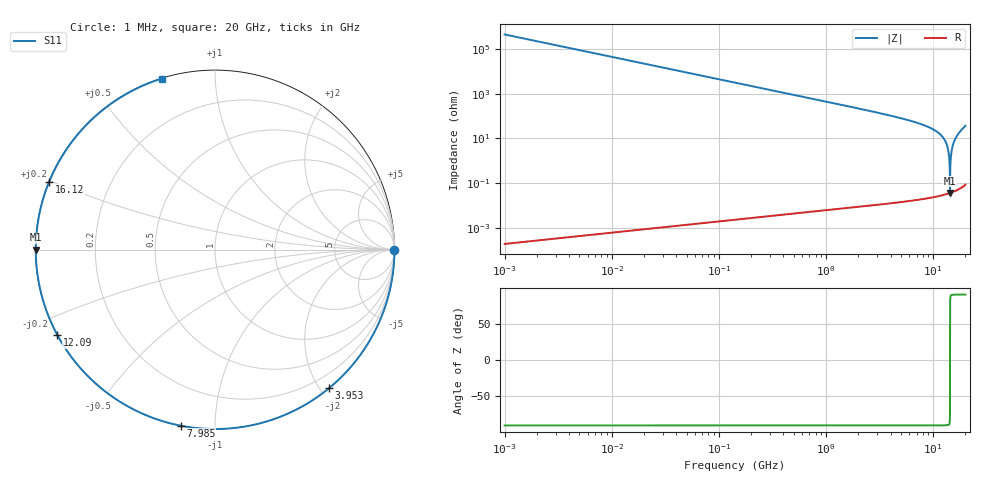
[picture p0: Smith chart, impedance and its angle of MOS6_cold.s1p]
# GHz S RI R 50
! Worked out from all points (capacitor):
!   10001 points, 1 MHz to 20 GHz, reference 50 ohm
!   read as one part to ground: C = 357 fF near 101 MHz
!   lowest |Z| = 36.3 mohm at 14.37 GHz (marker M1)
!   series resonance near 14.37 GHz, so ESL is about 340 pH
!   S11 on the Smith chart (normalised r, x): 1 MHz: open; 3.953 GHz: 0.00, -2.12; 7.985 GHz: 0.00, -0.82; 12.09 GHz: 0.00, -0.25; 16.12 GHz: 0.00, +0.20; 20 GHz: 0.00, +0.74
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0.001  1 -0.000224
0.615  0.9905 -0.1374
1.233  0.9621 -0.2727
1.859  0.9146 -0.4043
2.501  0.8475 -0.5307
3.207  0.754 -0.6568
3.953  0.6355 -0.772
5.001  0.4417 -0.897
5.633  0.3134 -0.9494
6.257  0.1814 -0.9831
6.879  0.047 -0.9986
7.501  -0.0878 -0.9957
7.985  -0.1914 -0.981
8.977  -0.3953 -0.9179
10.001  -0.5862 -0.8093
11.077  -0.7559 -0.6533
12.085  -0.8786 -0.4753
12.501  -0.9176 -0.3946
13.445  -0.9784 -0.2002
14.371  -0.9985 -5.05e-05
15.001  -0.9889 0.1375
16.125  -0.9245 0.3766
16.805  -0.8567 0.5122
17.501  -0.7661 0.6397
18.177  -0.6592 0.7493
18.817  -0.5427 0.8375
19.447  -0.4157 0.9071
20.001  -0.296 0.9529
